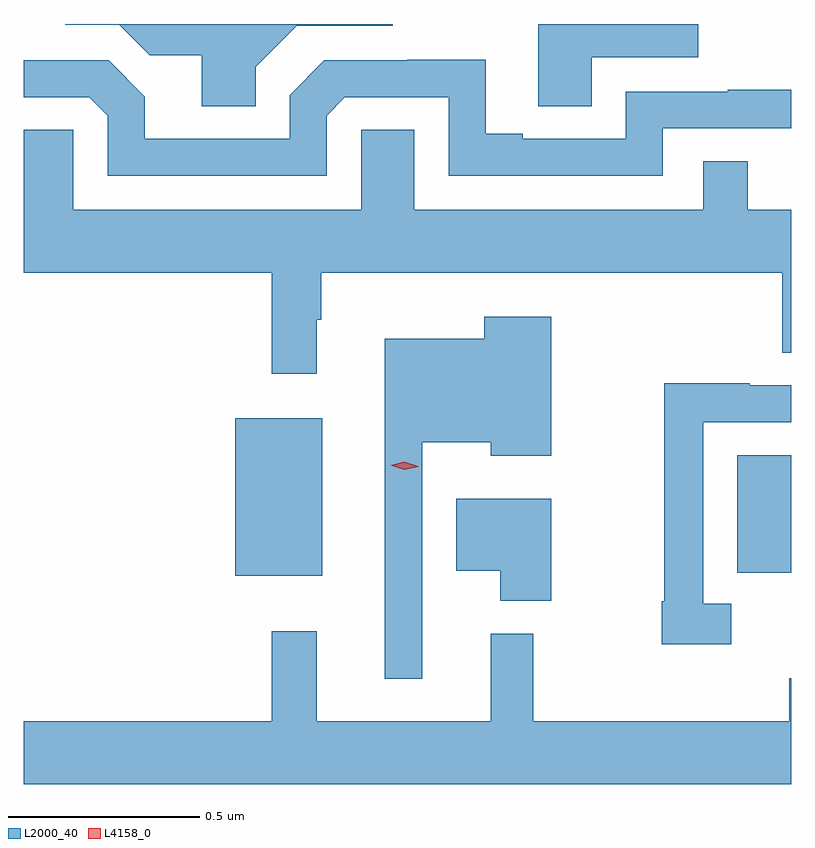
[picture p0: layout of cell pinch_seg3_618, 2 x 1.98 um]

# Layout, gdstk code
import gdstk
lib = gdstk.Library(unit=1e-6, precision=1e-09)
def R(c, l, rs):  # rectangles x0, y0, x1, y1
    for r in rs: c.add(gdstk.rectangle(r[:2], r[2:], *l))
def P(c, l, *ps):  # polygons
    for p in ps: c.add(gdstk.Polygon(p, *l))
L2000_40 = (2000, 40)
L4158_0 = (4158, 0)

pinch_seg3_618 = lib.new_cell('pinch_seg3_618')
R(pinch_seg3_618, L2000_40, [(1032.254,692.135,1032.481,692.545), (1033.562,692.142,1033.703,692.449)])
P(pinch_seg3_618, L2000_40, [(1032.307,693.46),(1032.414,693.567),(1032.664,693.567),(1032.664,693.572),(1031.811,693.572),(1031.811,693.57),(1031.952,693.57),(1032.032,693.49),(1032.167,693.49),(1032.167,693.358),(1032.307,693.358)],
  [(1033.183,693.486),(1033.46,693.486),(1033.46,693.572),(1033.043,693.572),(1033.043,693.358),(1033.183,693.358)],
  [(1032.492,693.333),(1032.54,693.381),(1032.81,693.381),(1032.81,693.177),(1033.368,693.177),(1033.368,693.3),(1033.703,693.3),(1033.703,693.401),(1033.537,693.401),(1033.537,693.396),(1033.272,693.396),(1033.272,693.273),(1033.003,693.273),(1033.003,693.286),(1032.907,693.286),(1032.907,693.479),(1032.702,693.479),(1032.702,693.477),(1032.486,693.477),(1032.396,693.387),(1032.396,693.273),(1032.019,693.273),(1032.019,693.383),(1031.925,693.477),(1031.703,693.477),(1031.703,693.381),(1031.874,693.381),(1031.922,693.333),(1031.922,693.177),(1032.492,693.177)],
  [(1032.466,692.801),(1032.478,692.801),(1032.478,692.924),(1033.679,692.924),(1033.679,692.716),(1033.703,692.716),(1033.703,693.088),(1033.589,693.088),(1033.589,693.215),(1033.473,693.215),(1033.473,693.088),(1032.721,693.088),(1032.721,693.296),(1032.582,693.296),(1032.582,693.088),(1031.832,693.088),(1031.832,693.296),(1031.703,693.296),(1031.703,692.924),(1032.349,692.924),(1032.349,692.661),(1032.466,692.661)],
  [(1032.741,692.483),(1032.92,692.483),(1032.92,692.447),(1033.078,692.447),(1033.078,692.809),(1032.903,692.809),(1032.903,692.752),(1032.644,692.752),(1032.644,691.866),(1032.741,691.866)],
  [(1033.546,692.061),(1033.473,692.061),(1033.473,692.535),(1033.703,692.535),(1033.703,692.631),(1033.595,692.631),(1033.595,692.636),(1033.372,692.636),(1033.372,692.068),(1033.365,692.068),(1033.365,691.956),(1033.546,691.956)],
  [(1033.078,692.335),(1032.83,692.335),(1032.83,692.147),(1032.944,692.147),(1032.944,692.069),(1033.078,692.069)],
  [(1033.703,691.868),(1033.697,691.868),(1033.697,691.756),(1033.03,691.756),(1033.03,691.984),(1032.92,691.984),(1032.92,691.756),(1032.467,691.756),(1032.467,691.99),(1032.349,691.99),(1032.349,691.756),(1031.703,691.756),(1031.703,691.592),(1033.703,691.592)])
P(pinch_seg3_618, L4158_0, [(1032.695,692.411),(1032.659,692.422),(1032.659,692.422),(1032.659,692.422),(1032.695,692.431),(1032.731,692.42),(1032.731,692.419),(1032.731,692.419)])

lib.write_gds('pinch_seg3_618.gds')
